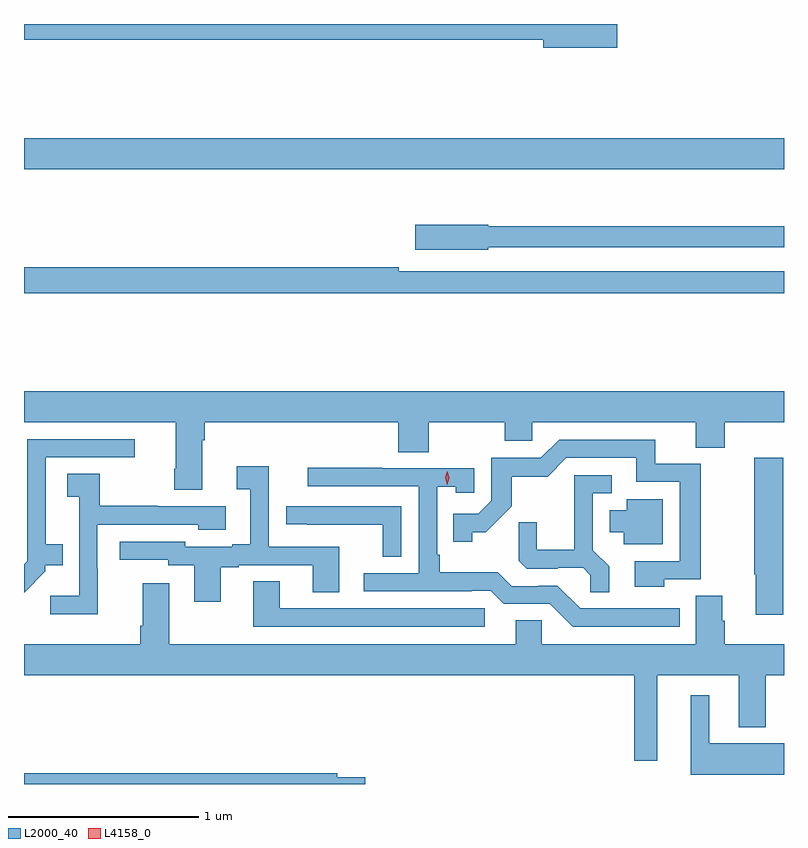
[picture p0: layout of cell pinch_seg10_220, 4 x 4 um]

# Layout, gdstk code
import gdstk
lib = gdstk.Library(unit=1e-6, precision=1e-09)
def R(c, l, rs):  # rectangles x0, y0, x1, y1
    for r in rs: c.add(gdstk.rectangle(r[:2], r[2:], *l))
def P(c, l, *ps):  # polygons
    for p in ps: c.add(gdstk.Polygon(p, *l))
L2000_40 = (2000, 40)
L4158_0 = (4158, 0)

pinch_seg10_220 = lib.new_cell('pinch_seg10_220')
R(pinch_seg10_220, L2000_40, [(623.26,1313.636,627.26,1313.8)])
P(pinch_seg10_220, L2000_40, [(626.383,1314.4),(623.26,1314.4),(623.26,1314.316),(625.994,1314.316),(625.994,1314.274),(626.383,1314.274)],
  [(625.704,1313.226),(627.26,1313.226),(627.26,1313.335),(625.704,1313.335),(625.704,1313.343),(625.32,1313.343),(625.32,1313.213),(625.704,1313.213)],
  [(627.26,1313.1),(625.232,1313.1),(625.232,1313.12),(623.26,1313.12),(623.26,1312.984),(627.26,1312.984)],
  [(624.199,1312.208),(624.212,1312.208),(624.212,1312.304),(625.229,1312.304),(625.229,1312.147),(625.389,1312.147),(625.389,1312.304),(625.789,1312.304),(625.789,1312.206),(625.935,1312.206),(625.935,1312.304),(626.795,1312.304),(626.795,1312.171),(626.948,1312.171),(626.948,1312.304),(627.26,1312.304),(627.26,1312.468),(623.26,1312.468),(623.26,1312.304),(624.059,1312.304),(624.059,1312.06),(624.052,1312.06),(624.052,1311.948),(624.199,1311.948)],
  [(623.373,1311.519),(623.373,1311.551),(623.465,1311.551),(623.465,1311.661),(623.374,1311.661),(623.374,1312.119),(623.842,1312.119),(623.842,1312.215),(623.277,1312.215),(623.277,1311.573),(623.26,1311.556),(623.26,1311.406)],
  [(626.631,1311.477),(626.821,1311.477),(626.821,1312.086),(626.582,1312.086),(626.582,1312.212),(626.076,1312.212),(625.98,1312.116),(625.719,1312.116),(625.719,1311.891),(625.65,1311.822),(625.519,1311.822),(625.519,1311.675),(625.62,1311.675),(625.62,1311.725),(625.69,1311.725),(625.828,1311.862),(625.828,1312.018),(626.017,1312.018),(626.115,1312.116),(626.483,1312.116),(626.483,1311.99),(626.712,1311.99),(626.712,1311.573),(626.475,1311.573),(626.475,1311.437),(626.631,1311.437)],
  [(627.257,1312.117),(627.103,1312.117),(627.103,1311.503),(627.11,1311.503),(627.11,1311.291),(627.257,1311.291)],
  [(624.295,1311.54),(624.391,1311.54),(624.391,1311.552),(624.779,1311.552),(624.779,1311.409),(624.919,1311.409),(624.919,1311.648),(624.549,1311.648),(624.549,1312.072),(624.381,1312.072),(624.381,1311.952),(624.452,1311.952),(624.452,1311.661),(624.356,1311.661),(624.356,1311.648),(624.108,1311.648),(624.108,1311.675),(623.763,1311.675),(623.763,1311.579),(624.018,1311.579),(624.018,1311.552),(624.155,1311.552),(624.155,1311.36),(624.295,1311.36)],
  [(626.71,1311.324),(626.187,1311.324),(626.067,1311.444),(625.966,1311.444),(625.966,1311.441),(625.827,1311.441),(625.754,1311.514),(625.447,1311.514),(625.447,1311.607),(625.434,1311.607),(625.434,1311.965),(625.533,1311.965),(625.533,1311.933),(625.629,1311.933),(625.629,1312.062),(625.145,1312.062),(625.145,1312.065),(624.753,1312.065),(624.753,1311.966),(625.338,1311.966),(625.338,1311.51),(625.047,1311.51),(625.047,1311.414),(625.616,1311.414),(625.616,1311.417),(625.716,1311.417),(625.785,1311.348),(626.028,1311.348),(626.148,1311.228),(626.71,1311.228)],
  [(623.649,1311.533),(623.646,1311.533),(623.646,1311.765),(624.177,1311.765),(624.177,1311.737),(624.322,1311.737),(624.322,1311.861),(623.963,1311.861),(623.963,1311.864),(623.659,1311.864),(623.659,1312.034),(623.487,1312.034),(623.487,1311.913),(623.55,1311.913),(623.55,1311.391),(623.397,1311.391),(623.397,1311.293),(623.649,1311.293)],
  [(626.339,1311.545),(626.253,1311.631),(626.253,1311.93),(626.353,1311.93),(626.353,1312.026),(626.156,1312.026),(626.156,1311.634),(625.958,1311.634),(625.958,1311.777),(625.864,1311.777),(625.864,1311.575),(625.905,1311.534),(626.07,1311.534),(626.07,1311.537),(626.204,1311.537),(626.241,1311.5),(626.241,1311.409),(626.339,1311.409)],
  [(626.623,1311.898),(626.432,1311.898),(626.432,1311.841),(626.342,1311.841),(626.342,1311.725),(626.417,1311.725),(626.417,1311.662),(626.623,1311.662)],
  [(625.245,1311.861),(624.639,1311.861),(624.639,1311.766),(624.751,1311.766),(624.751,1311.765),(625.147,1311.765),(625.147,1311.595),(625.245,1311.595)],
  [(625.684,1311.324),(624.607,1311.324),(624.607,1311.467),(624.467,1311.467),(624.467,1311.228),(625.684,1311.228)],
  [(626.593,1310.972),(627.023,1310.972),(627.023,1310.699),(627.163,1310.699),(627.163,1310.972),(627.26,1310.972),(627.26,1311.136),(626.948,1311.136),(626.948,1311.258),(626.935,1311.258),(626.935,1311.392),(626.795,1311.392),(626.795,1311.136),(625.986,1311.136),(625.986,1311.263),(625.847,1311.263),(625.847,1311.136),(624.025,1311.136),(624.025,1311.457),(623.885,1311.457),(623.885,1311.232),(623.873,1311.232),(623.873,1311.136),(623.26,1311.136),(623.26,1310.972),(626.472,1310.972),(626.472,1310.523),(626.593,1310.523)],
  [(627.26,1310.614),(626.866,1310.614),(626.866,1310.866),(626.768,1310.866),(626.768,1310.45),(627.26,1310.45)],
  [(625.055,1310.436),(624.908,1310.436),(624.908,1310.456),(623.26,1310.456),(623.26,1310.4),(625.055,1310.4)])
P(pinch_seg10_220, L4158_0, [(625.487,1311.974),(625.487,1311.975),(625.477,1312.011),(625.487,1312.047),(625.487,1312.047),(625.487,1312.047),(625.497,1312.011),(625.487,1311.975)])

lib.write_gds('pinch_seg10_220.gds')
